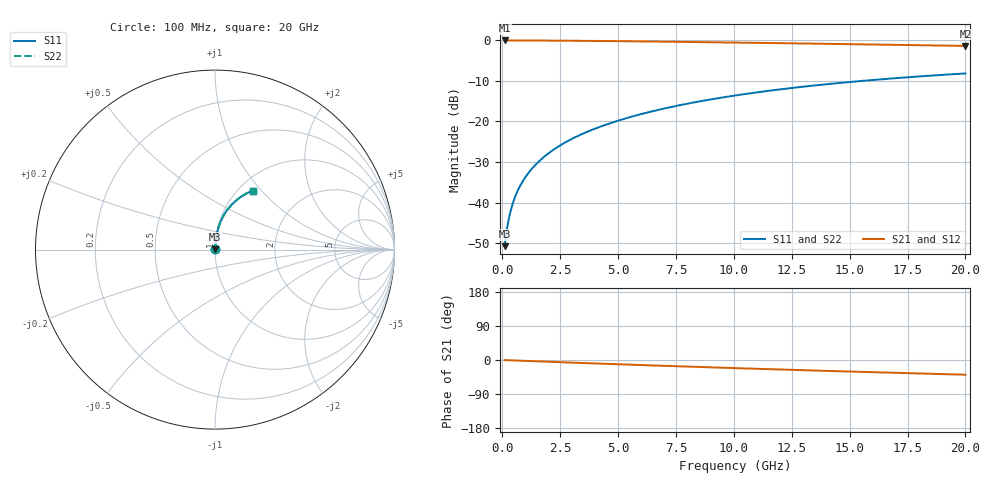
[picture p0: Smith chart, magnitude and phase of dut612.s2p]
! Touchstone file exported from HFSS 2024.1.0
!  File:  C:/UserFiles/LocalFiles/RDL_TSV_Batchsim/temp_RDL_bottom_612_1779783709.aedt
!  Generated:  04:24:41 PM May 26, 2026
!  Design:  RDL_bottom
!  Project:  temp_RDL_bottom_612_1779783709
!  Setup:  Setup1
!  Solution:  Sweep
! Variables:
!  dtsv = 10.80580581um
!  hbump = 3um
!  htsv = 99.31um
!  ldown = 508.81um
!  lrdl = 100um
!  p = 40
!  p1 = 59.02um
!  rhole = 1um
!  t = 450um
!  tdown = 4.95um
!  trdl = 3.915915916um
!  wdown = 20.15um
!  wrdl = 20um
# GHz S MA R 50.000000
! Terminal data exported
! Port[1] = RDL1_T1
! Port[2] = RDL1_T2
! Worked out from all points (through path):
!   200 points, 100 MHz to 20 GHz, reference 50 ohm
!   highest |S21| = -0.02 dB at 100 MHz (marker M1); lowest = -1.4 dB at 20 GHz (marker M2)
!   group delay of S21, straight-line fit = 5.36 ps
!   lowest |S11| = -50.8 dB at 100 MHz (marker M3), VSWR 1.01, Z = 50.2 + j0.215 ohm
!   |S11| at or under -10 dB: start of sweep to 15.53 GHz
!   |S22| runs from -50.8 to -8.2 dB; largest |S21 - S12| = 7.3e-15
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0.1  0.002892 47.7  0.998 -0.2  0.998 -0.2  0.002892 47.7
! Gamma 0 0 0 0
! Port Impedance 50 0 50 0
0.2  0.004711 64.6  0.9979 -0.5  0.9979 -0.5  0.004711 64.6
0.3  0.006689 71.5  0.9978 -0.7  0.9978 -0.7  0.006689 71.5
0.4  0.008692 75.0  0.9977 -0.9  0.9977 -0.9  0.008692 75.0
0.5  0.01069 77.2  0.9975 -1.2  0.9975 -1.2  0.01069 77.2
0.7  0.01466 79.8  0.9972 -1.6  0.9972 -1.6  0.01466 79.8
0.8  0.01664 80.6  0.997 -1.9  0.997 -1.9  0.01664 80.6
1  0.0206 81.8  0.9967 -2.3  0.9967 -2.3  0.0206 81.8
1.2  0.02456 82.6  0.9963 -2.8  0.9963 -2.8  0.02456 82.6
1.4  0.02853 83.2  0.9958 -3.3  0.9958 -3.3  0.02853 83.2
1.7  0.03452 83.7  0.995 -4.0  0.995 -4.0  0.03452 83.7
2  0.04053 84.0  0.9941 -4.6  0.9941 -4.6  0.04053 84.0
2.7  0.05469 84.1  0.9914 -6.2  0.9914 -6.2  0.05469 84.2
3.5  0.07105 83.8  0.9875 -8.0  0.9875 -8.0  0.07105 83.8
4.2  0.08553 83.3  0.9836 -9.6  0.9836 -9.6  0.08553 83.3
5  0.1022 82.4  0.9787 -11.3  0.9787 -11.3  0.1022 82.4
6.8  0.1403 80.0  0.9661 -15.0  0.9661 -15.0  0.1403 80.1
8.4  0.1742 77.5  0.954 -18.2  0.954 -18.2  0.1742 77.6
10.1  0.2099 74.6  0.9403 -21.5  0.9403 -21.5  0.2099 74.7
13.4  0.2763 68.7  0.9126 -27.6  0.9126 -27.6  0.2763 68.8
16.7  0.337 62.9  0.8838 -33.4  0.8838 -33.4  0.337 62.9
20  0.391 57.3  0.8547 -38.8  0.8547 -38.8  0.3911 57.3
